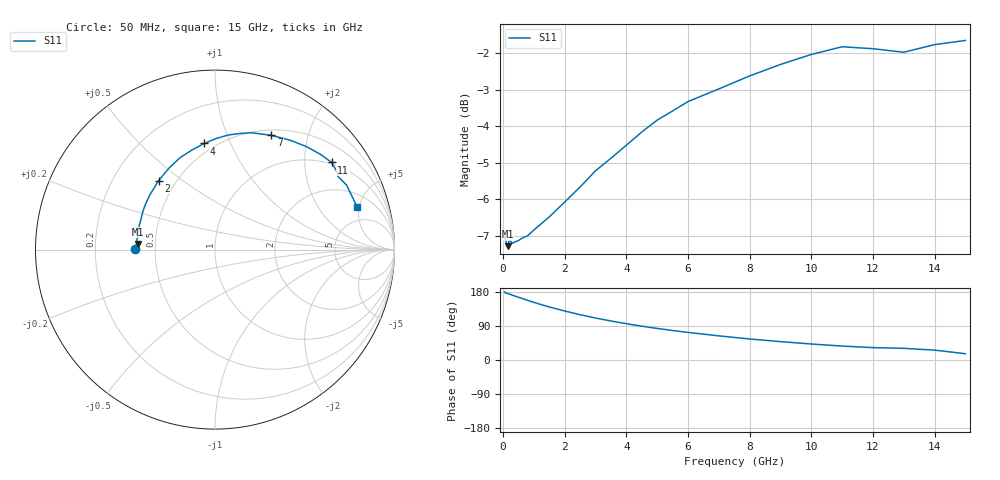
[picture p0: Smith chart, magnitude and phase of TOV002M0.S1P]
! SIEMENS Small Signal Semiconductors
! BAT15-03W
! Si Schottky Diode in SOD323
! IF = 2 mA
! S-Parameters:  May  1996
# GHz  S  MA  R  50
!  f  S11
! GHz  MAG  ANG
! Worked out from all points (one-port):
!   31 points, 50 MHz to 15 GHz, reference 50 ohm
!   lowest |S11| = -7.3 dB at 150 MHz (marker M1), VSWR 2.52, Z = 19.9 + j1.51 ohm
!   |S11| at or under -10 dB: nowhere
!   S11 on the Smith chart (normalised r, x): 50 MHz: 0.38, +0.00; 2 GHz: 0.40, +0.41; 4 GHz: 0.44, +0.80; 7 GHz: 0.57, +1.45; 11 GHz: 0.95, +2.71; 15 GHz: 3.19, +4.79
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0.05  0.4454 179.7
0.1  0.4375 175.8
0.15  0.4319 175.9
0.2  0.4397 174.0
0.3  0.4359 171.2
0.6  0.4425 162.8
0.8  0.4464 157.3
1  0.4545 152.1
1.2  0.4622 147.1
1.5  0.4738 140.0
2  0.4966 129.3
2.5  0.5208 119.6
3  0.5481 110.8
3.5  0.5701 102.9
4  0.5942 95.8
4.5  0.6194 89.3
5  0.6432 83.3
5.5  0.6621 77.8
6  0.682 72.8
7  0.7099 63.7
8  0.7396 55.5
9  0.7669 48.5
10  0.7914 42.2
11  0.8111 36.8
12  0.8059 32.6
13  0.7972 30.8
14  0.8165 26.1
15  0.8273 16.6
